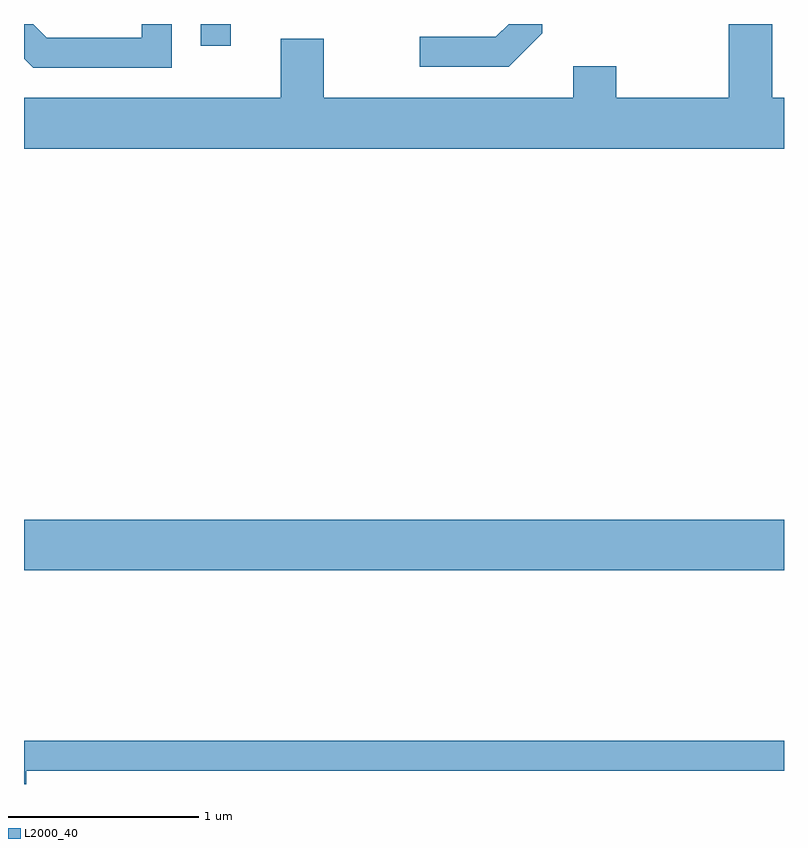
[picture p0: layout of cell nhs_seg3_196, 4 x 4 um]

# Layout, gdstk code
import gdstk
lib = gdstk.Library(unit=1e-6, precision=1e-09)
def R(c, l, rs):  # rectangles x0, y0, x1, y1
    for r in rs: c.add(gdstk.rectangle(r[:2], r[2:], *l))
def P(c, l, *ps):  # polygons
    for p in ps: c.add(gdstk.Polygon(p, *l))
L2000_40 = (2000, 40)

nhs_seg3_196 = lib.new_cell('nhs_seg3_196')
R(nhs_seg3_196, L2000_40, [(189.611,1237.016,193.611,1237.284), (190.541,1239.778,190.699,1239.892)])
P(nhs_seg3_196, L2000_40, [(193.611,1239.504),(193.549,1239.504),(193.549,1239.892),(193.321,1239.892),(193.321,1239.504),(192.729,1239.504),(192.729,1239.669),(192.501,1239.669),(192.501,1239.504),(191.189,1239.504),(191.189,1239.814),(190.961,1239.814),(190.961,1239.504),(189.611,1239.504),(189.611,1239.236),(193.611,1239.236)],
  [(190.389,1239.892),(190.231,1239.892),(190.231,1239.819),(189.732,1239.819),(189.659,1239.892),(189.611,1239.892),(189.611,1239.709),(189.659,1239.661),(190.389,1239.661)],
  [(192.339,1239.844),(192.339,1239.892),(192.161,1239.892),(192.094,1239.824),(191.693,1239.824),(191.693,1239.666),(192.162,1239.666)],
  [(189.624,1235.961),(193.611,1235.961),(193.611,1236.119),(189.611,1236.119),(189.611,1235.892),(189.624,1235.892)])

lib.write_gds('nhs_seg3_196.gds')
